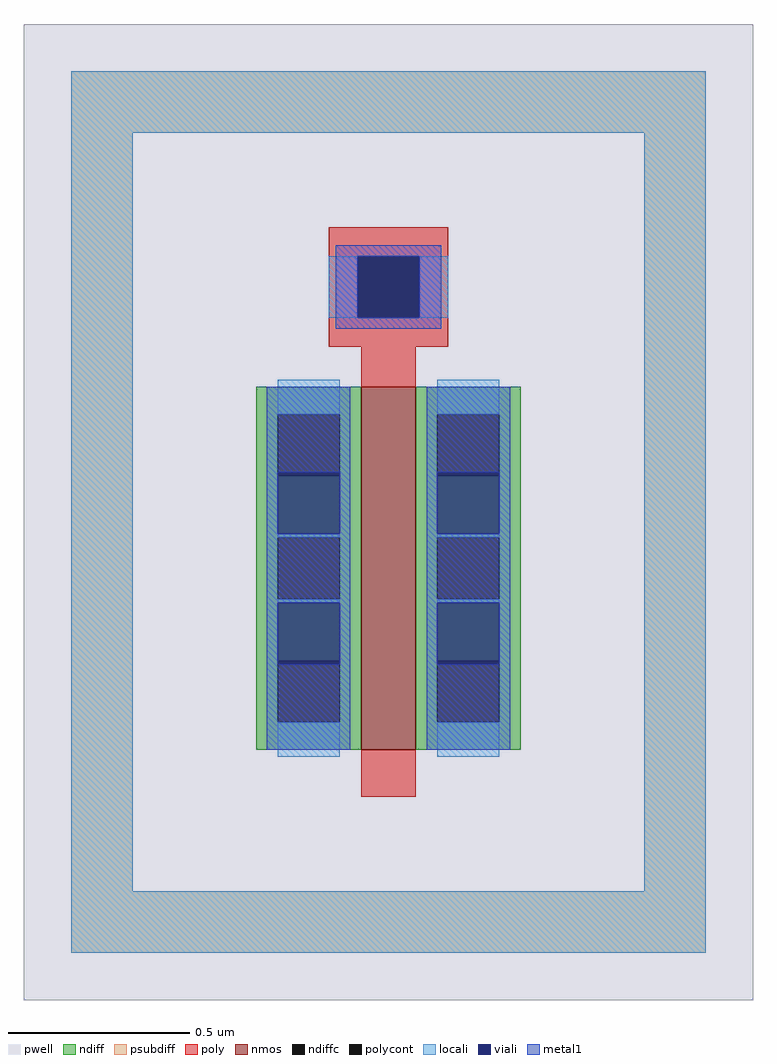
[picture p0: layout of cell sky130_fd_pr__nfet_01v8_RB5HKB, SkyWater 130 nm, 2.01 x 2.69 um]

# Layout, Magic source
magic
tech sky130B
magscale 1 2
<< pwell >>
rect -201 -269 201 269
<< nmos >>
rect -15 -131 15 69
<< ndiff >>
rect -73 54 -15 69
rect -73 20 -61 54
rect -27 20 -15 54
rect -73 -14 -15 20
rect -73 -48 -61 -14
rect -27 -48 -15 -14
rect -73 -82 -15 -48
rect -73 -116 -61 -82
rect -27 -116 -15 -82
rect -73 -131 -15 -116
rect 15 54 73 69
rect 15 20 27 54
rect 61 20 73 54
rect 15 -14 73 20
rect 15 -48 27 -14
rect 61 -48 73 -14
rect 15 -82 73 -48
rect 15 -116 27 -82
rect 61 -116 73 -82
rect 15 -131 73 -116
<< ndiffc >>
rect -61 20 -27 54
rect -61 -48 -27 -14
rect -61 -116 -27 -82
rect 27 20 61 54
rect 27 -48 61 -14
rect 27 -116 61 -82
<< psubdiff >>
rect -175 209 175 243
rect -175 -209 -141 209
rect 141 -209 175 209
rect -175 -243 175 -209
<< poly >>
rect -33 141 33 157
rect -33 107 -17 141
rect 17 107 33 141
rect -33 91 33 107
rect -15 69 15 91
rect -15 -157 15 -131
<< polycont >>
rect -17 107 17 141
<< locali >>
rect -175 209 175 243
rect -175 -209 -141 209
rect -33 107 -17 141
rect 17 107 33 141
rect -61 54 -27 73
rect -61 -14 -27 -12
rect -61 -50 -27 -48
rect -61 -135 -27 -116
rect 27 54 61 73
rect 27 -14 61 -12
rect 27 -50 61 -48
rect 27 -135 61 -116
rect 141 -209 175 209
rect -175 -243 175 -209
<< viali >>
rect -17 107 17 141
rect -61 20 -27 22
rect -61 -12 -27 20
rect -61 -82 -27 -50
rect -61 -84 -27 -82
rect 27 20 61 22
rect 27 -12 61 20
rect 27 -82 61 -50
rect 27 -84 61 -82
<< metal1 >>
rect -29 141 29 147
rect -29 107 -17 141
rect 17 107 29 141
rect -29 101 29 107
rect -67 22 -21 69
rect -67 -12 -61 22
rect -27 -12 -21 22
rect -67 -50 -21 -12
rect -67 -84 -61 -50
rect -27 -84 -21 -50
rect -67 -131 -21 -84
rect 21 22 67 69
rect 21 -12 27 22
rect 61 -12 67 22
rect 21 -50 67 -12
rect 21 -84 27 -50
rect 61 -84 67 -50
rect 21 -131 67 -84
<< properties >>
string FIXED_BBOX -158 -226 158 226
<< end >>
